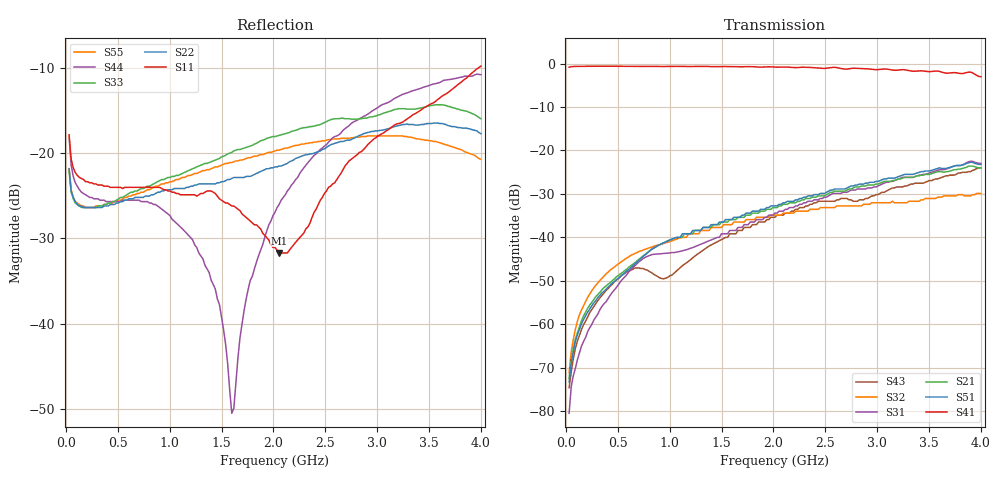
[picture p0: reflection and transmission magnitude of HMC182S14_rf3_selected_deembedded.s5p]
!Hittite Microwave Corporation
!12 Elizabeth Drive
!Chelmsford, MA 01824
!Tel: 978-250-3343
!Fax: 978-250-3373
!Device: HMC182S14, DC-2 GHz GaAS MMIC SP4T Non-Reflective Switch in 14-lead SOIC package
!Misc: Port 1 = RFCom, Port 2 = RF1, Port 3 = RF2, Port 4 = RF3, Port 5 = RF4, RF3 selected, Vctl=0/-5V
# MHZ S MA R 50
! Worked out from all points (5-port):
!   201 points, 30 MHz to 4 GHz, reference 50 ohm
!   strongest paths, dB at 30 MHz, 1.022 GHz, 2.015 GHz, 3.007 GHz, 4 GHz:
!     S41: -0.9, -0.7, -0.8, -1.4, -3.0
!     S51: -73.3, -40.4, -32.8, -27.1, -23.2
!     S21: -72.5, -40.4, -33.2, -27.7, -24.0
!     S31: -80.5, -43.5, -34.4, -28.2, -23.0
!     S32: -71.1, -40.8, -34.9, -32.0, -29.9
!     S43: -74.6, -48.7, -35.4, -30.2, -24.0
!   lowest |S11| = -31.7 dB at 2.055 GHz (marker M1), VSWR 1.05, Z = 47.9 - j1.45 ohm
!   |S11| at or under -10 dB: start of sweep to 3.978 GHz
